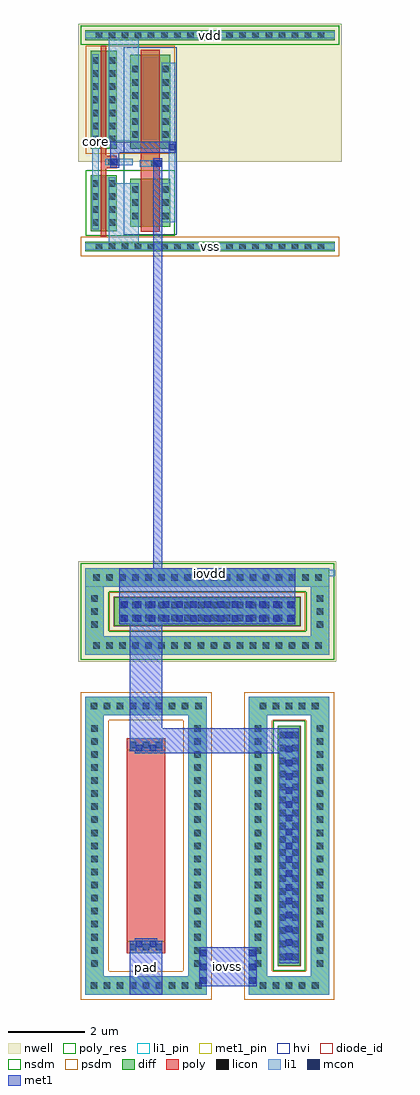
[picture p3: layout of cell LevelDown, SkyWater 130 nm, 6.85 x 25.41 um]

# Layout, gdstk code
import gdstk
lib = gdstk.Library(unit=1e-6, precision=1e-09)
def R(c, l, rs):  # rectangles x0, y0, x1, y1
    for r in rs: c.add(gdstk.rectangle(r[:2], r[2:], *l))
def A(c, l, x, y, w, h, nx, ny, dx, dy):  # array of equal rectangles
    R(c, l, [(x+i*dx, y+j*dy, x+i*dx+w, y+j*dy+h) for i in range(nx) for j in range(ny)])
def P(c, l, *ps):  # polygons
    for p in ps: c.add(gdstk.Polygon(p, *l))
nwell = (64, 20)
diff = (65, 20)
poly_res = (66, 13)
poly = (66, 20)
licon = (66, 44)
li1_pin = (67, 16)
li1 = (67, 20)
mcon = (67, 44)
met1_pin = (68, 16)
met1 = (68, 20)
hvi = (75, 20)
diode_id = (81, 23)
nsdm = (93, 44)
psdm = (94, 20)

guardring_p632w1550hff = lib.new_cell('GuardRing_P632W1550HFF')
P(guardring_p632w1550hff, diff, [(-1.58,-3.875),(-1.58,3.395),(-1.1,3.395),(-1.1,-3.395),(1.1,-3.395),(1.1,3.395),(-1.58,3.395),(-1.58,3.875),(1.58,3.875),(1.58,-3.875)])
A(guardring_p632w1550hff, licon, -1.445, -3.72, 0.17, 0.17, 9, 2, 0.34, 7.27)
A(guardring_p632w1550hff, licon, -1.425, -3.145, 0.17, 0.17, 1, 19, 0, 0.34)
A(guardring_p632w1550hff, licon, 1.255, -3.145, 0.17, 0.17, 1, 19, 0, 0.34)
P(guardring_p632w1550hff, li1, [(-1.58,-3.875),(-1.58,3.395),(-1.1,3.395),(-1.1,-3.395),(1.1,-3.395),(1.1,3.395),(-1.58,3.395),(-1.58,3.875),(1.58,3.875),(1.58,-3.875)])
P(guardring_p632w1550hff, psdm, [(-1.705,-4),(-1.705,3.27),(-0.975,3.27),(-0.975,-3.27),(0.975,-3.27),(0.975,3.27),(-1.705,3.27),(-1.705,4),(1.705,4),(1.705,-4)])

guardring_p418w1550hff = lib.new_cell('GuardRing_P418W1550HFF')
P(guardring_p418w1550hff, diff, [(-1.045,-3.875),(-1.045,3.395),(-0.565,3.395),(-0.565,-3.395),(0.565,-3.395),(0.565,3.395),(-1.045,3.395),(-1.045,3.875),(1.045,3.875),(1.045,-3.875)])
A(guardring_p418w1550hff, licon, -0.765, -3.72, 0.17, 0.17, 5, 2, 0.34, 7.27)
A(guardring_p418w1550hff, licon, -0.89, -3.145, 0.17, 0.17, 1, 19, 0, 0.34)
A(guardring_p418w1550hff, licon, 0.72, -3.145, 0.17, 0.17, 1, 19, 0, 0.34)
P(guardring_p418w1550hff, li1, [(-1.045,-3.875),(-1.045,3.395),(-0.565,3.395),(-0.565,-3.395),(0.565,-3.395),(0.565,3.395),(-1.045,3.395),(-1.045,3.875),(1.045,3.875),(1.045,-3.875)])
P(guardring_p418w1550hff, psdm, [(-1.17,-4),(-1.17,3.27),(-0.44,3.27),(-0.44,-3.27),(0.44,-3.27),(0.44,3.27),(-1.17,3.27),(-1.17,4),(1.17,4),(1.17,-4)])

guardring_n1270w450htf = lib.new_cell('GuardRing_N1270W450HTF')
R(guardring_n1270w450htf, nwell, [(-3.355,-1.305,3.355,1.305)])
P(guardring_n1270w450htf, diff, [(-3.175,-1.125),(-3.175,0.645),(-2.695,0.645),(-2.695,-0.645),(2.695,-0.645),(2.695,0.645),(-3.175,0.645),(-3.175,1.125),(3.175,1.125),(3.175,-1.125)])
A(guardring_n1270w450htf, licon, -2.975, -0.97, 0.17, 0.17, 18, 2, 0.34, 1.77)
A(guardring_n1270w450htf, licon, -3.02, -0.425, 0.17, 0.17, 1, 3, 0, 0.34)
A(guardring_n1270w450htf, licon, 2.85, -0.425, 0.17, 0.17, 1, 3, 0, 0.34)
P(guardring_n1270w450htf, li1, [(-3.175,-1.125),(-3.175,0.645),(-2.695,0.645),(-2.695,-0.645),(2.695,-0.645),(2.695,0.645),(-3.175,0.645),(-3.175,1.125),(3.175,1.125),(3.175,-1.125)])
P(guardring_n1270w450htf, nsdm, [(-3.3,-1.25),(-3.3,0.52),(-2.57,0.52),(-2.57,-0.52),(2.57,-0.52),(2.57,0.52),(-3.3,0.52),(-3.3,1.25),(3.3,1.25),(3.3,-1.25)])

secondaryprotection = lib.new_cell('SecondaryProtection')
R(secondaryprotection, nwell, [(0.57,9.42,5.78,10.53)])
R(secondaryprotection, diff, [(5.01,0.75,5.6,7), (0.75,9.6,5.6,10.35)])
R(secondaryprotection, poly_res, [(1.075,1.375,2.085,6.375)])
R(secondaryprotection, poly, [(1.08,1.08,2.08,6.67)])
A(secondaryprotection, licon, 5.05, 0.9, 0.17, 0.17, 1, 18, 0, 0.34)
A(secondaryprotection, licon, 5.39, 0.9, 0.17, 0.17, 1, 18, 0, 0.34)
A(secondaryprotection, licon, 1.155, 1.16, 0.17, 0.17, 3, 2, 0.34, 5.26)
A(secondaryprotection, licon, 0.88, 9.72, 0.17, 0.17, 14, 2, 0.34, 0.34)
R(secondaryprotection, li1_pin, [(0,10.62,6.35,11.1)])
R(secondaryprotection, li1, [(2.99,0.28,3.16,1.17), (4.26,0.28,4.43,1.17), (5.05,0.82,5.56,6.93), (1.155,1.08,2.005,1.41), (1.155,6.34,2.005,6.67), (0.88,9.64,5.47,10.31), (0,10.62,6.35,11.1)])
A(secondaryprotection, mcon, 2.99, 0.28, 0.17, 0.17, 1, 3, 0, 0.36)
A(secondaryprotection, mcon, 4.26, 0.28, 0.17, 0.17, 1, 3, 0, 0.36)
A(secondaryprotection, mcon, 5.22, 0.91, 0.17, 0.17, 1, 17, 0, 0.36)
A(secondaryprotection, mcon, 0.93, 9.71, 0.17, 0.17, 13, 2, 0.36, 0.36)
R(secondaryprotection, mcon, [(1.315,1.24,1.485,1.41), (1.675,1.24,1.845,1.41), (1.315,6.34,1.485,6.51), (1.675,6.34,1.845,6.51)])
R(secondaryprotection, met1_pin, [(1.155,0,2.005,1.41), (2.96,0.22,4.46,1.23), (0.88,9.64,5.47,11.1)])
R(secondaryprotection, met1, [(2.96,0.22,4.46,1.23)])
P(secondaryprotection, met1, [(1.155,0),(1.155,1.41),(1.285,1.41),(1.285,1.47),(1.875,1.47),(1.875,1.41),(2.005,1.41),(2.005,0)],
  [(5.05,0.82),(5.05,6.28),(1.285,6.28),(1.285,6.34),(1.155,6.34),(1.155,9.64),(0.88,9.64),(0.88,11.1),(5.47,11.1),(5.47,9.64),(2.005,9.64),(2.005,6.93),(5.56,6.93),(5.56,0.82)])
R(secondaryprotection, diode_id, [(5.005,0.745,5.605,7.005), (0.745,9.595,5.605,10.355)])
R(secondaryprotection, nsdm, [(4.885,0.625,5.725,7.125)])
R(secondaryprotection, psdm, [(0.625,9.475,5.725,10.475)])
secondaryprotection.add(gdstk.Reference(guardring_p632w1550hff, (1.58,3.875)))
secondaryprotection.add(gdstk.Reference(guardring_p418w1550hff, (5.305,3.875)))
secondaryprotection.add(gdstk.Reference(guardring_n1270w450htf, (3.175,9.975)))
secondaryprotection.add(gdstk.Label('pad', (1.58,0.705), layer=68, texttype=16))
secondaryprotection.add(gdstk.Label('core', (3.175,10.37), layer=68, texttype=16))
secondaryprotection.add(gdstk.Label('iovss', (3.71,0.725), layer=68, texttype=16))
secondaryprotection.add(gdstk.Label('iovdd', (3.175,10.86), layer=67, texttype=16))

leveldown = lib.new_cell('LevelDown')
R(leveldown, nwell, [(-0.18,10.7,6.67,14.305), (-0.045,10.86,0.995,13.78), (0.995,10.86,1.605,13.67), (1.775,10.86,2.385,13.67)])
R(leveldown, diff, [(0,8.375,6.49,8.625), (0.135,8.9,0.815,10.36), (1.175,9.01,2.205,10.27), (0.135,11.04,0.815,13.6), (1.175,11.04,2.205,13.49), (0,13.875,6.49,14.125)])
R(leveldown, poly, [(1.44,8.88,1.94,13.62)])
P(leveldown, poly, [(0.4,8.77),(0.4,13.73),(0.55,13.73),(0.55,10.865),(0.82,10.865),(0.82,10.535),(0.55,10.535),(0.55,8.77)])
A(leveldown, licon, 0.27, 8.415, 0.17, 0.17, 18, 2, 0.34, 5.5)
A(leveldown, licon, 0.175, 9.035, 0.17, 0.17, 1, 4, 0, 0.34)
A(leveldown, licon, 0.605, 9.035, 0.17, 0.17, 1, 4, 0, 0.34)
A(leveldown, licon, 1.215, 9.215, 0.17, 0.17, 1, 3, 0, 0.34)
A(leveldown, licon, 1.995, 9.215, 0.17, 0.17, 1, 3, 0, 0.34)
A(leveldown, licon, 0.175, 11.215, 0.17, 0.17, 1, 7, 0, 0.34)
A(leveldown, licon, 0.605, 11.215, 0.17, 0.17, 1, 7, 0, 0.34)
A(leveldown, licon, 1.215, 11.33, 0.17, 0.17, 1, 6, 0, 0.34)
A(leveldown, licon, 1.995, 11.33, 0.17, 0.17, 1, 6, 0, 0.34)
R(leveldown, licon, [(1.72,10.57,1.89,10.74), (0.6,10.615,0.77,10.785)])
R(leveldown, li1_pin, [(0,-0.085,6.49,0.085), (0,8.415,6.49,8.585), (0.175,8.955,0.345,13.505), (0,13.915,6.49,14.085)])
R(leveldown, li1, [(0,-0.085,6.49,0.085), (0.175,8.955,0.345,13.505), (1.41,10.57,1.97,10.74), (0.52,10.615,1.24,10.785)])
P(leveldown, li1, [(0,8.415),(0,8.585),(0.605,8.585),(0.605,10.305),(0.775,10.305),(0.775,10.145),(1.385,10.145),(1.385,8.585),(6.49,8.585),(6.49,8.415)],
  [(1.995,9.135),(1.995,10.145),(2.165,10.145),(2.165,11.25),(1.995,11.25),(1.995,13.28),(2.335,13.28),(2.335,9.135)],
  [(0.605,11.135),(0.605,13.915),(0,13.915),(0,14.085),(6.49,14.085),(6.49,13.915),(1.385,13.915),(1.385,11.25),(0.775,11.25),(0.775,11.135)])
R(leveldown, mcon, [(1.8,10.57,1.97,10.74), (0.68,10.615,0.85,10.785), (2.165,11,2.335,11.17)])
R(leveldown, met1_pin, [(1.155,-10.975,2.005,-9.565), (2.96,-10.755,4.46,-9.745)])
R(leveldown, met1, [(1.155,-10.975,2.005,-9.565), (2.96,-10.755,4.46,-9.745), (1.77,0.125,2,10.8)])
P(leveldown, met1, [(0.65,10.555),(0.65,11.23),(2.365,11.23),(2.365,10.94),(0.88,10.94),(0.88,10.555)])
R(leveldown, hvi, [(0.995,8.81,2.385,13.69)])
R(leveldown, nsdm, [(0.01,8.775,2.33,10.485), (-0.125,13.75,6.615,14.25)])
R(leveldown, psdm, [(-0.125,8.25,6.615,8.75), (0.01,10.915,2.33,13.725)])
leveldown.add(gdstk.Reference(secondaryprotection, (0,-10.975)))
leveldown.add(gdstk.Label('pad', (1.58,-10.27), layer=68, texttype=16))
leveldown.add(gdstk.Label('iovss', (3.71,-10.25), layer=68, texttype=16))
leveldown.add(gdstk.Label('core', (0.26,11.23), layer=67, texttype=16))
leveldown.add(gdstk.Label('vss', (3.245,8.5), layer=67, texttype=16))
leveldown.add(gdstk.Label('vdd', (3.245,14), layer=67, texttype=16))
leveldown.add(gdstk.Label('iovdd', (3.245,0), layer=67, texttype=16))

lib.write_gds('LevelDown.gds')
